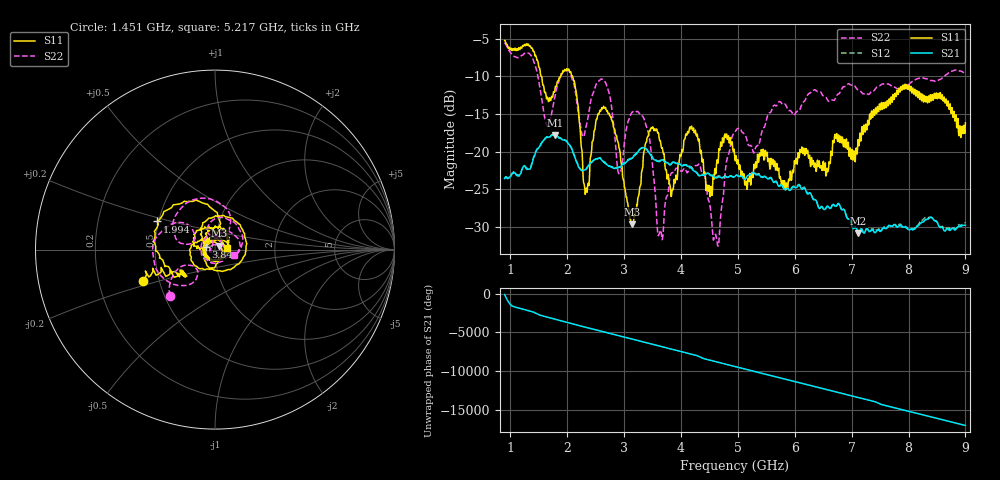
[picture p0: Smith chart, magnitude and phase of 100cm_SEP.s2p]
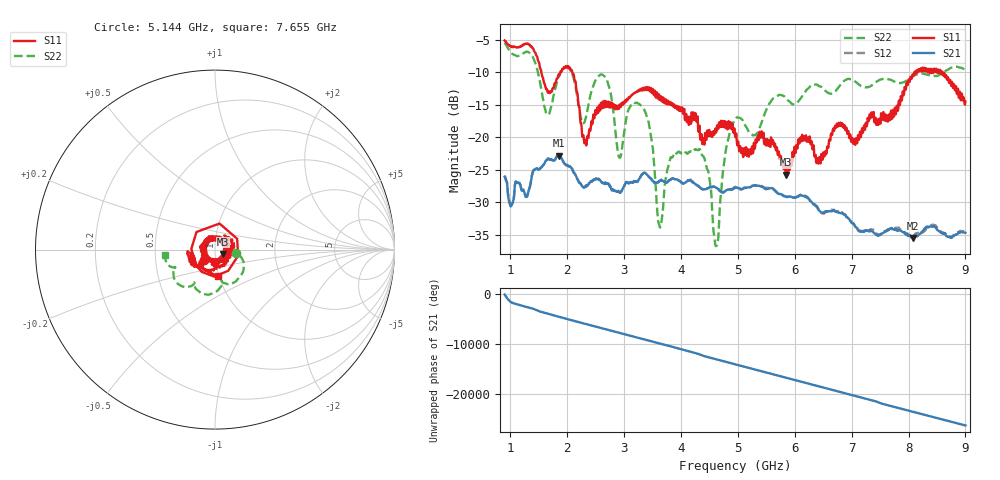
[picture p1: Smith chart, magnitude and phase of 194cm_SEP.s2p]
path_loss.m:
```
clear all
close all

S = {};
%data for path-loss calculations (1001 pts)
freqs_1001pts = sparameters("dataM/100cm_SEP.s2p").Frequencies;
N2 = size(freqs_1001pts,1);
S{end+1} = sparameters("dataM/100cm_SEP.s2p").Parameters;
S{end+1} = sparameters("dataM/194cm_SEP.s2p").Parameters;
S{end+1} = sparameters("dataM/363cm_SEP.s2p").Parameters;

freq_GHz = freqs_1001pts / 1e9;

%calculate LOS gain for path-loss calculations
Gain = zeros(N2,3);
Gain(:,1) = abs(squeeze(S{end-2}(2,1,:)/2)).^2; %1.00m separation
Gain(:,2) = abs(squeeze(S{end-1}(2,1,:)/2)).^2; %1.94m separation
Gain(:,3) = abs(squeeze(S{end}(2,1,:)/2)).^2; %3.63m separation

%calculate path-loss coefficient 
Pt = 1e-3; %transmitted power
Pr = Gain * Pt; %received power

alpha = zeros(N2,2);
d0 = 1.00; %reference distance
d1 = 1.94;
d2 = 3.63; 
alpha(:,1) = smoothdata(smoothdata(log(Pr(:,2)./Pr(:,1))./log(d0/d1)));
alpha(:,2) = smoothdata(smoothdata(log(Pr(:,3)./Pr(:,1))./log(d0/d2)));
alpha_mean = squeeze(alpha(:,1) + alpha(:,2))/2;

d = linspace(1,100)'; %distance in meters
Nd = size(d,1);
Pd = zeros(N2,Nd);

for i=1:Nd
    Pd(:,i) = Pr(:,1).*(d0./d(i)).^alpha_mean(:);
end

[X,Y]=meshgrid(d,freqs_1001pts);
%%
figure('DefaultAxesFontSize', 14, 'units',...
    'normalized','outerposition',[0 0 1 1]);
plot(freq_GHz,alpha(:,1),freq_GHz,alpha(:,2),freq_GHz,alpha_mean)
legend('1.94m','3.63m','Mean')
title('Path-loss Exponent w.r.t. Reference 1m Separation')
ylabel('Path-loss Coefficient')
xlabel('Frequency, GHz')
grid on

figure('DefaultAxesFontSize', 14)
mesh(X,Y/1e9,10*log10(Pd))
colorbar
colormap jet
zlabel('10log_{10}[P(d,f)],dB')
ylabel('Frequency, GHz')
xlabel('Distance, m')
title("Expected Recever Power as a Function of Distance")
view(135,55)

%%
```
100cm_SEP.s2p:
!Keysight Technologies N9915A: A.10.33
!Date: Friday, 08 May 2020 14:28:43
!Timezone: (UTC+08:00) Perth
!Model: N9915A
!Serial: MY53102697
!GPS Latitude:
!GPS Longitude:
!GPS TimeStamp: 0001-01-01 00:00:00Z
!GPS Seconds Since Last Read: 0
!CHECKSUM:1941627810
!Correction: S11(ON U?)S21(ON U?)S12(ON U?)S22(ON U?)
!S2P File: Measurements:S11,S21,S12,S22:
# Hz S DB R 50
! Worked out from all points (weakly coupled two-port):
!   1001 points, 900 MHz to 9 GHz, reference 50 ohm
!   highest |S21| = -17.76 dB at 1.783 GHz (marker M1); lowest = -30.8 dB at 7.121 GHz (marker M2)
!   lowest |S11| = -29.6 dB at 3.136 GHz (marker M3), VSWR 1.07, Z = 52.4 + j2.34 ohm
!   |S11| at or under -10 dB: 1.549 GHz to 1.884 GHz (334.9 MHz wide, 19.5 % of centre); 2.095 GHz to end of sweep
!   |S22| runs from -32.5 to -5.5 dB; largest |S21 - S12| = 0.0016
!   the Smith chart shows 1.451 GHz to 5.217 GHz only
!   S11 on the Smith chart (normalised r, x): 1.451 GHz: 0.41, -0.17; 1.994 GHz: 0.49, +0.18; 3.84 GHz: 0.90, +0.02; 5.217 GHz: 1.15, +0.02
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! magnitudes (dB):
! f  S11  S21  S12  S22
! 900 MHz  -5.2  -23.5  -23.5  -5.5
! 1.451 GHz  -7.2  -20.0  -19.9  -8.9
! 1.783 GHz  -11.9  -17.8  -17.7  -12.7
! 1.994 GHz  -9.0  -18.7  -18.6  -9.2
! 3.136 GHz  -29.6  -20.9  -20.8  -14.8
! 3.84 GHz  -25.3  -21.5  -21.5  -22.8
! 4.634 GHz  -21.1  -23.4  -23.3  -32.0
! 4.95 GHz  -21.1  -23.2  -23.2  -17.4
! 5.217 GHz  -23.2  -23.1  -23.0  -19.2
! 7.121 GHz  -18.7  -30.8  -30.6  -11.8
! 9 GHz  -16.2  -29.8  -29.5  -9.6
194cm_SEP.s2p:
!Keysight Technologies N9915A: A.10.33
!Date: Friday, 08 May 2020 14:23:05
!Timezone: (UTC+08:00) Perth
!Model: N9915A
!Serial: MY53102697
!GPS Latitude:
!GPS Longitude:
!GPS TimeStamp: 0001-01-01 00:00:00Z
!GPS Seconds Since Last Read: 0
!CHECKSUM:0411523641
!Correction: S11(ON U?)S21(ON U?)S12(ON U?)S22(ON U?)
!S2P File: Measurements:S11,S21,S12,S22:
# Hz S DB R 50
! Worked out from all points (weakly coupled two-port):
!   1001 points, 900 MHz to 9 GHz, reference 50 ohm
!   highest |S21| = -22.82 dB at 1.856 GHz (marker M1); lowest = -35.4 dB at 8.085 GHz (marker M2)
!   lowest |S11| = -25.7 dB at 5.841 GHz (marker M3), VSWR 1.11, Z = 54.7 - j2.71 ohm
!   |S11| at or under -10 dB: 1.546 GHz to 1.877 GHz (331.2 MHz wide, 19.4 % of centre); 2.091 GHz to 8.104 GHz (6.014 GHz wide, 118 % of centre); 8.597 GHz to end of sweep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
!   |S22| runs from -36.7 to -5.5 dB; largest |S21 - S12| = 0.0012
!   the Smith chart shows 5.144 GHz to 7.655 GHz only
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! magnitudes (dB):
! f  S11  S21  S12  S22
! 900 MHz  -5.1  -26.0  -25.9  -5.5
! 1.856 GHz  -10.4  -22.8  -22.8  -10.6
! 2.334 GHz  -21.2  -27.5  -27.5  -16.7
! 3.33 GHz  -12.6  -25.6  -25.6  -15.4
! 3.63 GHz  -14.2  -26.7  -26.6  -33.8
! 4.326 GHz  -18.2  -27.6  -27.6  -21.8
! 4.618 GHz  -19.2  -27.7  -27.7  -36.7
! 4.95 GHz  -19.6  -27.8  -27.6  -17.3
! 5.841 GHz  -25.7  -29.1  -29.1  -13.9
! 8.085 GHz  -10.5  -35.4  -35.2  -10.5
! 9 GHz  -14.5  -34.7  -34.4  -9.6
